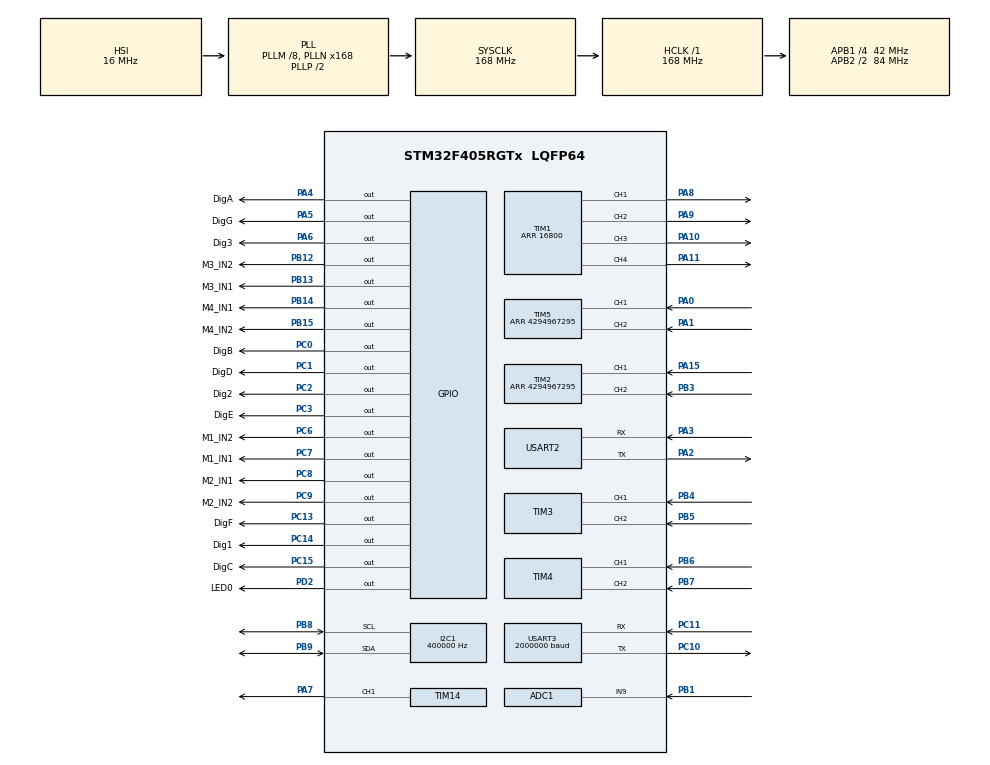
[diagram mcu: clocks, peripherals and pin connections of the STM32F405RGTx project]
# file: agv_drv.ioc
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ADC1.Channel-2\#ChannelRegularConversion=ADC_CHANNEL_9
ADC1.Channel-3\#ChannelInjectedConversion=ADC_CHANNEL_VREFINT
ADC1.Channel-4\#ChannelInjectedConversion=ADC_CHANNEL_9
ADC1.Channel-5\#ChannelInjectedConversion=ADC_CHANNEL_9
ADC1.Channel-6\#ChannelInjectedConversion=ADC_CHANNEL_9
ADC1.ExternalTrigConv=ADC_SOFTWARE_START
ADC1.InjNumberOfConversion=4
ADC1.InjectedOffset-3\#ChannelInjectedConversion=0
ADC1.InjectedOffset-4\#ChannelInjectedConversion=0
ADC1.InjectedOffset-5\#ChannelInjectedConversion=0
ADC1.InjectedOffset-6\#ChannelInjectedConversion=0
ADC1.InjectedRank-3\#ChannelInjectedConversion=1
ADC1.InjectedRank-4\#ChannelInjectedConversion=2
ADC1.InjectedRank-5\#ChannelInjectedConversion=3
ADC1.InjectedRank-6\#ChannelInjectedConversion=4
ADC1.NbrOfConversionFlag=1
ADC1.Rank-2\#ChannelRegularConversion=1
ADC1.SamplingTime-2\#ChannelRegularConversion=ADC_SAMPLETIME_3CYCLES
ADC1.SamplingTime-3\#ChannelInjectedConversion=ADC_SAMPLETIME_480CYCLES
ADC1.SamplingTime-4\#ChannelInjectedConversion=ADC_SAMPLETIME_480CYCLES
ADC1.SamplingTime-5\#ChannelInjectedConversion=ADC_SAMPLETIME_480CYCLES
ADC1.SamplingTime-6\#ChannelInjectedConversion=ADC_SAMPLETIME_480CYCLES
ADC1.master=1
Dma.I2C1_RX.0.Direction=DMA_PERIPH_TO_MEMORY
Dma.I2C1_RX.0.FIFOMode=DMA_FIFOMODE_DISABLE
Dma.I2C1_RX.0.Instance=DMA1_Stream0
Dma.I2C1_RX.0.MemDataAlignment=DMA_MDATAALIGN_BYTE
Dma.I2C1_RX.0.MemInc=DMA_MINC_ENABLE
Dma.I2C1_RX.0.Mode=DMA_NORMAL
Dma.I2C1_RX.0.PeriphDataAlignment=DMA_PDATAALIGN_BYTE
Dma.I2C1_RX.0.PeriphInc=DMA_PINC_DISABLE
Dma.I2C1_RX.0.Priority=DMA_PRIORITY_LOW
Dma.Request0=I2C1_RX
Dma.Request1=USART2_TX
Dma.USART2_TX.1.Direction=DMA_MEMORY_TO_PERIPH
Dma.USART2_TX.1.FIFOMode=DMA_FIFOMODE_DISABLE
Dma.USART2_TX.1.Instance=DMA1_Stream6
Dma.USART2_TX.1.MemDataAlignment=DMA_MDATAALIGN_BYTE
Dma.USART2_TX.1.MemInc=DMA_MINC_ENABLE
Dma.USART2_TX.1.Mode=DMA_NORMAL
Dma.USART2_TX.1.PeriphDataAlignment=DMA_PDATAALIGN_BYTE
Dma.USART2_TX.1.PeriphInc=DMA_PINC_DISABLE
Dma.USART2_TX.1.Priority=DMA_PRIORITY_MEDIUM
I2C1.ClockSpeed=400000
I2C1.I2C_Mode=I2C_Fast
Mcu.Family=STM32F4
Mcu.Name=STM32F405RGTx
Mcu.Package=LQFP64
NVIC.ADC_IRQn=true\:3\:0\:true\:false\:true\:true\:true\:true
NVIC.DMA1_Stream0_IRQn=true\:0\:0\:false\:false\:true\:false\:true\:true
NVIC.DMA1_Stream6_IRQn=true\:0\:0\:false\:false\:true\:false\:true\:true
NVIC.PriorityGroup=NVIC_PRIORITYGROUP_4
NVIC.TIM8_BRK_TIM12_IRQn=true\:6\:0\:true\:false\:true\:true\:true\:true
NVIC.TIM8_CC_IRQn=true\:6\:0\:true\:false\:true\:true\:true\:true
NVIC.TIM8_TRG_COM_TIM14_IRQn=true\:6\:0\:true\:false\:true\:true\:true\:true
NVIC.TIM8_UP_TIM13_IRQn=true\:6\:0\:true\:false\:true\:true\:true\:true
NVIC.USART2_IRQn=true\:0\:0\:false\:false\:true\:true\:false\:true
NVIC.USART3_IRQn=true\:0\:0\:false\:false\:true\:true\:false\:true
PA0-WKUP.GPIO_PuPd=GPIO_PULLUP
PA0-WKUP.Signal=S_TIM5_CH1
PA1.GPIO_PuPd=GPIO_PULLUP
PA1.Signal=S_TIM5_CH2
PA10.GPIO_Speed=GPIO_SPEED_FREQ_MEDIUM
PA10.Signal=S_TIM1_CH3
PA11.GPIO_Speed=GPIO_SPEED_FREQ_MEDIUM
PA11.Signal=S_TIM1_CH4
PA13.Mode=Serial_Wire
PA13.Signal=SYS_JTMS-SWDIO
PA14.Mode=Serial_Wire
PA14.Signal=SYS_JTCK-SWCLK
PA15.GPIO_PuPd=GPIO_PULLUP
PA15.Signal=S_TIM2_CH1_ETR
PA2.GPIO_Speed=GPIO_SPEED_FREQ_MEDIUM
PA2.Mode=Asynchronous
PA2.Signal=USART2_TX
PA3.GPIO_PuPd=GPIO_PULLUP
PA3.Mode=Asynchronous
PA3.Signal=USART2_RX
PA4.GPIO_Label=DigA
PA4.Signal=GPIO_Output
PA5.GPIO_Label=DigG
PA5.Signal=GPIO_Output
PA6.GPIO_Label=Dig3
PA6.Signal=GPIO_Output
PA7.GPIO_PuPd=GPIO_NOPULL
PA7.Signal=S_TIM14_CH1
PA8.GPIO_Speed=GPIO_SPEED_FREQ_MEDIUM
PA8.Signal=S_TIM1_CH1
PA9.GPIO_Speed=GPIO_SPEED_FREQ_MEDIUM
PA9.Signal=S_TIM1_CH2
PB1.Signal=ADCx_IN9
PB12.GPIO_Label=M3_IN2
PB12.Signal=GPIO_Output
PB13.GPIO_Label=M3_IN1
PB13.Signal=GPIO_Output
PB14.GPIO_Label=M4_IN1
PB14.Signal=GPIO_Output
PB15.GPIO_Label=M4_IN2
PB15.Signal=GPIO_Output
PB3.GPIO_PuPd=GPIO_PULLUP
PB3.Signal=S_TIM2_CH2
PB4.GPIO_PuPd=GPIO_PULLUP
PB4.Signal=S_TIM3_CH1
PB5.GPIO_PuPd=GPIO_PULLUP
PB5.Signal=S_TIM3_CH2
PB6.GPIO_PuPd=GPIO_PULLUP
PB6.Signal=S_TIM4_CH1
PB7.GPIO_PuPd=GPIO_PULLUP
PB7.Signal=S_TIM4_CH2
PB8.GPIO_Pu=GPIO_PULLUP
PB8.GPIO_Speed=GPIO_SPEED_FREQ_MEDIUM
PB8.Mode=I2C
PB8.Signal=I2C1_SCL
PB9.GPIO_Pu=GPIO_PULLUP
PB9.GPIO_Speed=GPIO_SPEED_FREQ_MEDIUM
PB9.Mode=I2C
PB9.Signal=I2C1_SDA
PC0.GPIO_Label=DigB
PC0.Signal=GPIO_Output
PC1.GPIO_Label=DigD
PC1.Signal=GPIO_Output
PC10.GPIO_Speed=GPIO_SPEED_FREQ_HIGH
PC10.Mode=Asynchronous
PC10.Signal=USART3_TX
PC11.GPIO_PuPd=GPIO_PULLUP
PC11.Mode=Asynchronous
PC11.Signal=USART3_RX
PC13-ANTI_TAMP.GPIO_Label=DigF
PC13-ANTI_TAMP.Signal=GPIO_Output
PC14-OSC32_IN.GPIO_Label=Dig1
PC14-OSC32_IN.Signal=GPIO_Output
PC15-OSC32_OUT.GPIO_Label=DigC
PC15-OSC32_OUT.Signal=GPIO_Output
PC2.GPIO_Label=Dig2
PC2.Signal=GPIO_Output
PC3.GPIO_Label=DigE
PC3.Signal=GPIO_Output
PC6.GPIO_Label=M1_IN2
PC6.Signal=GPIO_Output
PC7.GPIO_Label=M1_IN1
PC7.Signal=GPIO_Output
PC8.GPIO_Label=M2_IN1
PC8.Signal=GPIO_Output
PC9.GPIO_Label=M2_IN2
PC9.Signal=GPIO_Output
PD2.GPIO_Label=LED0
PD2.Signal=GPIO_Output
PH0-OSC_IN.Mode=HSE-External-Oscillator
PH0-OSC_IN.Signal=RCC_OSC_IN
PH1-OSC_OUT.Mode=HSE-External-Oscillator
PH1-OSC_OUT.Signal=RCC_OSC_OUT
ProjectManager.HeapSize=0x200
ProjectManager.StackSize=0x400
ProjectManager.TargetToolchain=STM32CubeIDE
RCC.48MHZClocksFreq_Value=48000000
RCC.AHBFreq_Value=168000000
RCC.APB1CLKDivider=RCC_HCLK_DIV4
RCC.APB1Freq_Value=42000000
RCC.APB1TimFreq_Value=84000000
RCC.APB2CLKDivider=RCC_HCLK_DIV2
RCC.APB2Freq_Value=84000000
RCC.APB2TimFreq_Value=168000000
RCC.CortexFreq_Value=168000000
RCC.HCLKFreq_Value=168000000
RCC.HSE_VALUE=12000000
RCC.HSI_VALUE=16000000
RCC.LSE_VALUE=32768
RCC.PLLM=8
RCC.PLLN=168
RCC.PLLQ=7
RCC.SYSCLKFreq_VALUE=168000000
RCC.SYSCLKSource=RCC_SYSCLKSOURCE_PLLCLK
RCC.VCOOutputFreq_Value=336000000
SH.ADCx_IN9.0=ADC1_IN9,IN9
SH.ADCx_IN9.1=ADC2_IN9
SH.S_TIM14_CH1.0=TIM14_CH1,PWM Generation1 CH1
SH.S_TIM1_CH1.0=TIM1_CH1,PWM Generation1 CH1
SH.S_TIM1_CH2.0=TIM1_CH2,PWM Generation2 CH2
SH.S_TIM1_CH3.0=TIM1_CH3,PWM Generation3 CH3
SH.S_TIM1_CH4.0=TIM1_CH4,PWM Generation4 CH4
SH.S_TIM2_CH1_ETR.0=TIM2_CH1,Encoder_Interface
SH.S_TIM2_CH2.0=TIM2_CH2,Encoder_Interface
SH.S_TIM3_CH1.0=TIM3_CH1,Encoder_Interface
SH.S_TIM3_CH2.0=TIM3_CH2,Encoder_Interface
SH.S_TIM4_CH1.0=TIM4_CH1,Encoder_Interface
SH.S_TIM4_CH2.0=TIM4_CH2,Encoder_Interface
SH.S_TIM5_CH1.0=TIM5_CH1,Encoder_Interface
SH.S_TIM5_CH2.0=TIM5_CH2,Encoder_Interface
TIM1.AutoReloadPreload=TIM_AUTORELOAD_PRELOAD_ENABLE
TIM1.Channel-PWM\ Generation1\ CH1=TIM_CHANNEL_1
TIM1.Channel-PWM\ Generation2\ CH2=TIM_CHANNEL_2
TIM1.Channel-PWM\ Generation3\ CH3=TIM_CHANNEL_3
TIM1.Channel-PWM\ Generation4\ CH4=TIM_CHANNEL_4
TIM1.Period=16800
TIM14.Channel=TIM_CHANNEL_1
TIM14.Period=21000
TIM2.EncoderMode=TIM_ENCODERMODE_TI12
TIM2.IC1Filter=15
TIM2.IC2Filter=15
TIM2.Period=4294967295
TIM3.EncoderMode=TIM_ENCODERMODE_TI12
TIM3.IC1Filter=15
TIM3.IC2Filter=15
TIM4.EncoderMode=TIM_ENCODERMODE_TI12
TIM4.IC1Filter=15
TIM4.IC2Filter=15
TIM5.EncoderMode=TIM_ENCODERMODE_TI12
TIM5.IC1Filter=15
TIM5.IC2Filter=15
TIM5.Period=4294967295
TIM8.Channel-PWM\ Generation1\ No\ Output=TIM_CHANNEL_1
TIM8.ClockDivision=TIM_CLOCKDIVISION_DIV1
TIM8.Period=21000
TIM8.Prescaler=7
TIM8.Pulse-PWM\ Generation1\ No\ Output=10000
USART2.VirtualMode=VM_ASYNC
USART3.BaudRate=2000000
USART3.VirtualMode=VM_ASYNC
VP_ADC1_Vref_Input.Mode=IN-Vrefint
VP_IWDG_VS_IWDG.Mode=IWDG_Activate
VP_RNG_VS_RNG.Mode=RNG_Activate
VP_TIM14_VS_ClockSourceINT.Mode=Enable_Timer
VP_TIM8_VS_ClockSourceINT.Mode=Internal
VP_TIM8_VS_no_output1.Mode=PWM Generation1 No Output
board=custom

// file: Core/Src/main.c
/* USER CODE BEGIN Header */
/**
 ******************************************************************************
 * @file           : main.c
 * @brief          : Main program body
 ******************************************************************************
 * @attention
 *
 * Copyright (c) 2022 STMicroelectronics.
 * All rights reserved.
 *
 * This software is licensed under terms that can be found in the LICENSE file
 * in the root directory of this software component.
 * If no LICENSE file comes with this software, it is provided AS-IS.
 *
 ******************************************************************************
 */
/* USER CODE END Header */
#include "main.h"
#include "adc.h"
#include "dma.h"
#include "gpio.h"
#include "i2c.h"
#include "iwdg.h"
#include "rng.h"
#include "tim.h"
#include "usart.h"

/* USER CODE BEGIN Includes */
#include "drv_beep.h"
#include "drv_car.h"
#include "drv_digi.h"
#include "drv_imu_instance.h"
#include "drv_shell.h"
/* USER CODE END Includes */

void SystemClock_Config(void);

int main(void)
{

  /* MCU Configuration--------------------------------------------------------*/

  /* Reset of all peripherals, Initializes the Flash interface and the Systick. */
  HAL_Init();

  /* Configure the system clock */
  SystemClock_Config();

  /* Initialize all configured peripherals */
  MX_GPIO_Init();
  MX_TIM1_Init();
  MX_TIM2_Init();
  MX_TIM3_Init();
  MX_TIM4_Init();
  MX_TIM5_Init();
  MX_USART3_UART_Init();
  MX_DMA_Init();
  MX_ADC1_Init();
  MX_USART2_UART_Init();
  MX_TIM14_Init();
  MX_I2C1_Init();
  MX_TIM8_Init();
  MX_RNG_Init();
  MX_IWDG_Init();
  /* USER CODE BEGIN 2 */
  // MX_USART2_UART_Init();
  __disable_irq();
  HAL_TIM_Base_Start_IT(&htim8);
  HAL_TIM_PWM_Start(&htim14, TIM_CHANNEL_1);
  HAL_TIM_PWM_Start(&htim1, TIM_CHANNEL_1);
  HAL_TIM_PWM_Start(&htim1, TIM_CHANNEL_2);
  HAL_TIM_PWM_Start(&htim1, TIM_CHANNEL_3);
  HAL_TIM_PWM_Start(&htim1, TIM_CHANNEL_4);
  HAL_TIM_Encoder_Start(&htim2, TIM_CHANNEL_ALL);
  HAL_TIM_Encoder_Start(&htim3, TIM_CHANNEL_ALL);
  HAL_TIM_Encoder_Start(&htim4, TIM_CHANNEL_ALL);
  HAL_TIM_Encoder_Start(&htim5, TIM_CHANNEL_ALL);
  beep_on(500);
  shell_init();
  __HAL_UART_ENABLE_IT(&huart3, UART_IT_RXNE);
  __HAL_UART_ENABLE_IT(&huart2, UART_IT_RXNE);
  car_init(5);
  __enable_irq();
  imu_init();
  /* USER CODE END 2 */

  /* Infinite loop */
  /* USER CODE BEGIN WHILE */
  char ch;
  while (1) {
    if (FIFO_UsedSize(&shell_fifo)) {
      FIFO_Get(&shell_fifo, &ch, 1);
      shellHandler(&lshell, ch);
    }
    /* USER CODE END WHILE */

  }
}

void SystemClock_Config(void)
{
  RCC_OscInitTypeDef RCC_OscInitStruct = {0};
  RCC_ClkInitTypeDef RCC_ClkInitStruct = {0};

  /** Configure the main internal regulator output voltage
   */
  __HAL_RCC_PWR_CLK_ENABLE();
  __HAL_PWR_VOLTAGESCALING_CONFIG(PWR_REGULATOR_VOLTAGE_SCALE1);

  /** Initializes the RCC Oscillators according to the specified parameters
   * in the RCC_OscInitTypeDef structure.
   */
  RCC_OscInitStruct.OscillatorType = RCC_OSCILLATORTYPE_HSI | RCC_OSCILLATORTYPE_LSI;
  RCC_OscInitStruct.HSIState = RCC_HSI_ON;
  RCC_OscInitStruct.HSICalibrationValue = RCC_HSICALIBRATION_DEFAULT;
  RCC_OscInitStruct.LSIState = RCC_LSI_ON;
  RCC_OscInitStruct.PLL.PLLState = RCC_PLL_ON;
  RCC_OscInitStruct.PLL.PLLSource = RCC_PLLSOURCE_HSI;
  RCC_OscInitStruct.PLL.PLLM = 8;
  RCC_OscInitStruct.PLL.PLLN = 168;
  RCC_OscInitStruct.PLL.PLLP = RCC_PLLP_DIV2;
  RCC_OscInitStruct.PLL.PLLQ = 7;
  if (HAL_RCC_OscConfig(&RCC_OscInitStruct) != HAL_OK) {
    Error_Handler();
  }

  /** Initializes the CPU, AHB and APB buses clocks
   */
  RCC_ClkInitStruct.ClockType = RCC_CLOCKTYPE_HCLK | RCC_CLOCKTYPE_SYSCLK
                                | RCC_CLOCKTYPE_PCLK1 | RCC_CLOCKTYPE_PCLK2;
  RCC_ClkInitStruct.SYSCLKSource = RCC_SYSCLKSOURCE_PLLCLK;
  RCC_ClkInitStruct.AHBCLKDivider = RCC_SYSCLK_DIV1;
  RCC_ClkInitStruct.APB1CLKDivider = RCC_HCLK_DIV4;
  RCC_ClkInitStruct.APB2CLKDivider = RCC_HCLK_DIV2;

  if (HAL_RCC_ClockConfig(&RCC_ClkInitStruct, FLASH_LATENCY_5) != HAL_OK) {
    Error_Handler();
  }
}

/* USER CODE BEGIN 4 */

void HAL_TIM_PeriodElapsedCallback(TIM_HandleTypeDef *htim)
{
  if (htim == &htim8) {
    // 1ms period
    static uint32_t tick;
    tick++;
    digi_tick_callback();
    if (tick % 2 == 0) {
      // 2ms period
      HAL_ADCEx_InjectedStart_IT(&hadc1); // trigger
    }
    if (tick % 5 == 0) {
      // 5ms period
      HAL_IWDG_Refresh(&hiwdg);
      car.Recive_Timer += 5;
      if (car.Recive_Timer > 1000) {
        // clear speed_dst when diconnected from ros node
        car.Recive_Timer = 0;
        if (
            fabsf(car.speed_dst[0]) > 0.001f || fabsf(car.speed_dst[1]) > 0.001f
            || fabsf(car.speed_dst[2]) > 0.001f || fabsf(car.speed_dst[3]) > 0.001f) {
          car.speed_dst[0] = 0;
          car.speed_dst[1] = 0;
          car.speed_dst[2] = 0;
          car.speed_dst[3] = 0;
          beep_on(1000); // 1s beep on
        }
      }
      car_speed_get();
      car_speed_ctrl();
      led_increase(5);
      if (car.spd_ctrl_identify_mode) {
        car.upload_frame.fdata[0] = car.speed[0];
        car.upload_frame.fdata[1] = car.speed[1];
        car.upload_frame.fdata[2] = car.speed[2];
        car.upload_frame.fdata[3] = car.speed[3];
        car.upload_frame.fdata[0 + 4] = car.u_out[0];
        car.upload_frame.fdata[1 + 4] = car.u_out[1];
        car.upload_frame.fdata[2 + 4] = car.u_out[2];
        car.upload_frame.fdata[3 + 4] = car.u_out[3];
        HAL_UART_Transmit(&huart3, (uint8_t *) &car.upload_frame, sizeof(Frame_t), ~0);
      } else if (car.upload_flag == 1) {
        car.upload_frame.fdata[0] = car.speed[0];
        car.upload_frame.fdata[1] = car.speed[1];
        car.upload_frame.fdata[2] = car.speed[2];
        car.upload_frame.fdata[3] = car.speed[3];
        car.upload_frame.fdata[0 + 4] = car.speed_dst[0];
        car.upload_frame.fdata[1 + 4] = car.speed_dst[1];
        car.upload_frame.fdata[2 + 4] = car.speed_dst[2];
        car.upload_frame.fdata[3 + 4] = car.speed_dst[3];
        HAL_UART_Transmit(&huart3, (uint8_t *) &car.upload_frame, sizeof(Frame_t), ~0);
      }
    }
    if (tick % 50 == 0) {
      beep_increase(50);
      if (imu0 != NULL && IMU_IsOpen(imu0)) {
        IMU_ReadSensorNonBlocking(imu0);
        /*IMU_ReadSensorBlocking(imu0);
        imu_read_callback();*/
      }
      car_upload_to_ros_node();
    }
    if (tick % 2000 == 0) {
      // 2s period
      led_on(100);

      // vbus warning
      if (car.vbus_warning)
        beep_on(700);
    }
  }
}

void HAL_ADCEx_InjectedConvCpltCallback(ADC_HandleTypeDef *hadc)
{
  static uint32_t u_verf;
  static uint32_t u_vbus;
  static float vref = 1.21f;
  static float vbus = 12.6f;
#define ADC_LEFT_SHIFT (6)
  if (hadc == &hadc1) {
    u_verf = (u_verf * ((1 << ADC_LEFT_SHIFT) - 1)
              + (HAL_ADCEx_InjectedGetValue(&hadc1, ADC_INJECTED_RANK_1) << ADC_LEFT_SHIFT))
             >> ADC_LEFT_SHIFT;
    u_vbus = (u_vbus * ((1 << ADC_LEFT_SHIFT) - 1)
              + ((HAL_ADCEx_InjectedGetValue(&hadc1, ADC_INJECTED_RANK_2)
                  + HAL_ADCEx_InjectedGetValue(&hadc1, ADC_INJECTED_RANK_3)
                  + HAL_ADCEx_InjectedGetValue(&hadc1, ADC_INJECTED_RANK_4) * 2)
                 << (ADC_LEFT_SHIFT - 2)))
             >> ADC_LEFT_SHIFT;

    static uint32_t tick;
    tick++;
    if (tick % (1 << ADC_LEFT_SHIFT) == 0) {
      vref = (float) u_verf * 3.3f / (float) (4096 << ADC_LEFT_SHIFT);
      vbus = (float) u_vbus * 1.21f * 11.0f / (float) u_verf; // 11.0f = divider ratio
      digi_set_num_no_refresh(vbus * 10.0f + 0.5f);           // 0.5f for rounding
      car.vbus = vbus;

      // vbus warning
      if (car.vbus > 5.4f) {
        if ((!car.vbus_warning) && car.vbus < 10.0)
          car.vbus_warning = true;
        if (car.vbus_warning && car.vbus > 10.2)
          car.vbus_warning = false;
      } else {
        car.vbus_warning = false;
      }
    }
  }
}

void HAL_I2C_MemRxCpltCallback(I2C_HandleTypeDef *hi2c)
{
  if (hi2c == &hi2c1) {
    imu_read_callback();
  }
}
/* USER CODE END 4 */

void Error_Handler(void)
{
  __disable_irq();
  while (1) {
  }
}
